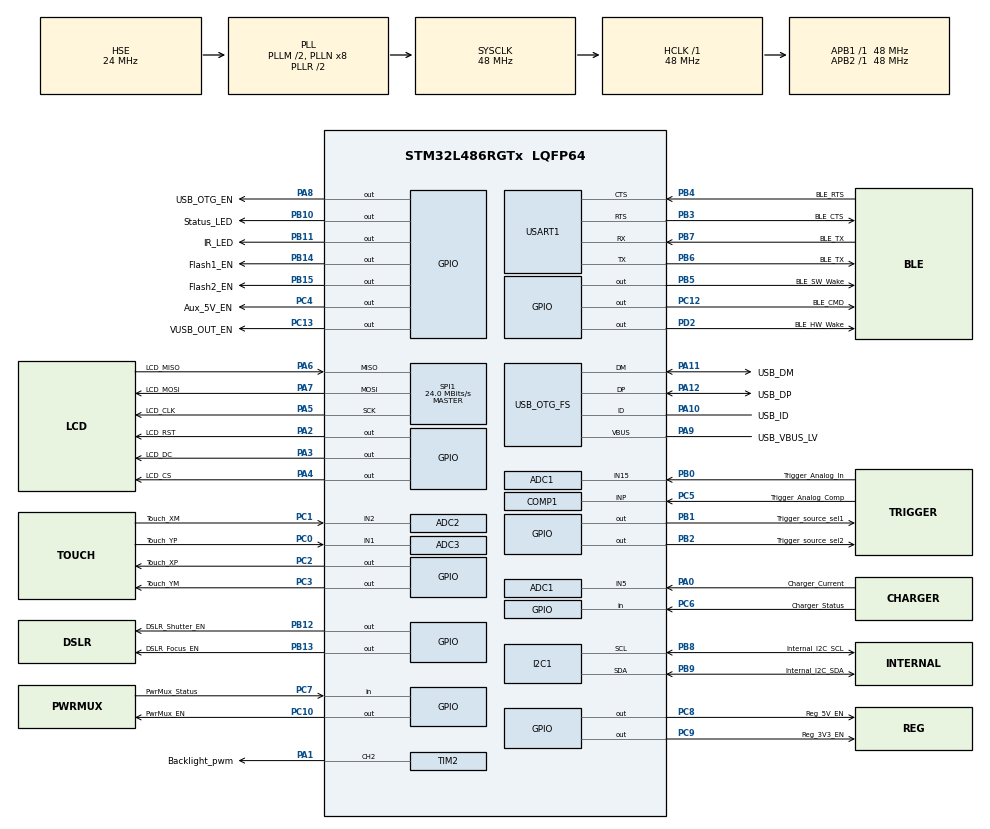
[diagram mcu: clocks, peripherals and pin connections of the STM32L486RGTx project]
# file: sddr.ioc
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ADC1.Channel-202\#ChannelRegularConversion=ADC_CHANNEL_5
ADC1.ClockPrescaler=ADC_CLOCK_ASYNC_DIV4
ADC1.NbrOfConversionFlag=1
ADC1.OffsetNumber-202\#ChannelRegularConversion=ADC_OFFSET_NONE
ADC1.Rank-202\#ChannelRegularConversion=1
ADC1.SamplingTime-202\#ChannelRegularConversion=ADC_SAMPLETIME_2CYCLES_5
ADC1.master=1
ADC2.Channel-0\#ChannelRegularConversion=ADC_CHANNEL_2
ADC2.ClockPrescaler=ADC_CLOCK_ASYNC_DIV4
ADC2.NbrOfConversionFlag=1
ADC2.OffsetNumber-0\#ChannelRegularConversion=ADC_OFFSET_NONE
ADC2.Rank-0\#ChannelRegularConversion=1
ADC2.SamplingTime-0\#ChannelRegularConversion=ADC_SAMPLETIME_2CYCLES_5
ADC3.Channel-0\#ChannelRegularConversion=ADC_CHANNEL_1
ADC3.ClockPrescaler=ADC_CLOCK_ASYNC_DIV4
ADC3.NbrOfConversionFlag=1
ADC3.OffsetNumber-0\#ChannelRegularConversion=ADC_OFFSET_NONE
ADC3.Rank-0\#ChannelRegularConversion=1
ADC3.SamplingTime-0\#ChannelRegularConversion=ADC_SAMPLETIME_2CYCLES_5
COMP1.TriggerMode=COMP_TRIGGERMODE_IT_RISING_FALLING
COMP2.TriggerMode=COMP_TRIGGERMODE_IT_RISING_FALLING
COMP2.WindowMode=COMP_WINDOWMODE_COMP1_INPUT_PLUS_COMMON
DAC1.DAC_Channel-DAC_OUT2_Int=DAC_CHANNEL_2
I2C1.Timing=0x20303E5D
Mcu.Family=STM32L4
Mcu.Name=STM32L486RGTx
Mcu.Package=LQFP64
NVIC.COMP_IRQn=true\:0\:0\:false\:false\:true\:false
NVIC.PriorityGroup=NVIC_PRIORITYGROUP_4
PA0.GPIO_Label=Charger_Current
PA0.Signal=ADCx_IN5
PA1.GPIO_Label=Backlight_pwm
PA1.Signal=S_TIM2_CH2
PA10.GPIO_Label=USB_ID
PA10.Mode=OTG/Dual_Role_Device
PA10.Signal=USB_OTG_FS_ID
PA11.GPIO_Label=USB_DM
PA11.Mode=OTG/Dual_Role_Device
PA11.Signal=USB_OTG_FS_DM
PA12.GPIO_Label=USB_DP
PA12.Mode=OTG/Dual_Role_Device
PA12.Signal=USB_OTG_FS_DP
PA13\ (JTMS-SWDIO).Mode=Serial_Wire
PA13\ (JTMS-SWDIO).Signal=SYS_JTMS-SWDIO
PA14\ (JTCK-SWCLK).Mode=Serial_Wire
PA14\ (JTCK-SWCLK).Signal=SYS_JTCK-SWCLK
PA2.GPIO_Label=LCD_RST
PA2.Signal=GPIO_Output
PA3.GPIO_Label=LCD_DC
PA3.Signal=GPIO_Output
PA4.GPIO_Label=LCD_CS
PA4.Signal=GPIO_Output
PA5.GPIO_Label=LCD_CLK
PA5.Mode=Full_Duplex_Master
PA5.Signal=SPI1_SCK
PA6.GPIO_Label=LCD_MISO
PA6.Mode=Full_Duplex_Master
PA6.Signal=SPI1_MISO
PA7.GPIO_Label=LCD_MOSI
PA7.Mode=Full_Duplex_Master
PA7.Signal=SPI1_MOSI
PA8.GPIO_Label=USB_OTG_EN
PA8.Signal=GPIO_Output
PA9.GPIO_Label=USB_VBUS_LV
PA9.Mode=Activate_VBUS
PA9.Signal=USB_OTG_FS_VBUS
PB0.GPIO_Label=Trigger_Analog_In
PB0.Signal=ADCx_IN15
PB1.GPIO_Label=Trigger_source_sel1
PB1.Signal=GPIO_Output
PB10.GPIO_Label=Status_LED
PB10.Signal=GPIO_Output
PB11.GPIO_Label=IR_LED
PB11.Signal=GPIO_Output
PB12.GPIO_Label=DSLR_Shutter_EN
PB12.Signal=GPIO_Output
PB13.GPIO_Label=DSLR_Focus_EN
PB13.Signal=GPIO_Output
PB14.GPIO_Label=Flash1_EN
PB14.Signal=GPIO_Output
PB15.GPIO_Label=Flash2_EN
PB15.Signal=GPIO_Output
PB2.GPIO_Label=Trigger_source_sel2
PB2.Signal=GPIO_Output
PB3\ (JTDO-TRACESWO).GPIO_Label=BLE_CTS
PB3\ (JTDO-TRACESWO).Mode=CTS_RTS
PB3\ (JTDO-TRACESWO).Signal=USART1_RTS
PB4\ (NJTRST).GPIO_Label=BLE_RTS
PB4\ (NJTRST).Mode=CTS_RTS
PB4\ (NJTRST).Signal=USART1_CTS
PB5.GPIO_Label=BLE_SW_Wake
PB5.Signal=GPIO_Output
PB6.GPIO_Label=BLE_TX
PB6.Mode=Asynchronous
PB6.Signal=USART1_TX
PB7.GPIO_Label=BLE_TX
PB7.Mode=Asynchronous
PB7.Signal=USART1_RX
PB8.GPIO_Label=Internal_I2C_SCL
PB8.Mode=I2C
PB8.Signal=I2C1_SCL
PB9.GPIO_Label=Internal_I2C_SDA
PB9.Mode=I2C
PB9.Signal=I2C1_SDA
PC0.GPIO_Label=Touch_YP
PC0.Signal=ADCx_IN1
PC1.GPIO_Label=Touch_XM
PC1.Signal=ADCx_IN2
PC10.GPIO_Label=PwrMux_EN
PC10.PinState=GPIO_PIN_RESET
PC10.Signal=GPIO_Output
PC12.GPIO_Label=BLE_CMD
PC12.Signal=GPIO_Output
PC13.GPIO_Label=VUSB_OUT_EN
PC13.Signal=GPIO_Output
PC14-OSC32_IN\ (PC14).Mode=LSE-External-Oscillator
PC14-OSC32_IN\ (PC14).Signal=RCC_OSC32_IN
PC15-OSC32_OUT\ (PC15).Mode=LSE-External-Oscillator
PC15-OSC32_OUT\ (PC15).Signal=RCC_OSC32_OUT
PC2.GPIO_Label=Touch_XP
PC2.Signal=GPIO_Output
PC3.GPIO_Label=Touch_YM
PC3.Signal=GPIO_Output
PC4.GPIO_Label=Aux_5V_EN
PC4.Signal=GPIO_Output
PC5.GPIO_Label=Trigger_Analog_Comp
PC5.Signal=SharedAnalog_PC5
PC6.GPIO_Label=Charger_Status
PC6.Signal=GPIO_Input
PC7.GPIO_Label=PwrMux_Status
PC7.Signal=GPIO_Input
PC8.GPIO_Label=Reg_5V_EN
PC8.Signal=GPIO_Output
PC9.GPIO_Label=Reg_3V3_EN
PC9.Signal=GPIO_Output
PD2.GPIO_Label=BLE_HW_Wake
PD2.Signal=GPIO_Output
PH0-OSC_IN\ (PH0).Mode=HSE-External-Clock-Source
PH0-OSC_IN\ (PH0).Signal=RCC_OSC_IN
ProjectManager.HeapSize=0x200
ProjectManager.StackSize=0x400
ProjectManager.TargetToolchain=SW4STM32
RCC.ADCFreq_Value=48000000
RCC.AHBFreq_Value=48000000
RCC.APB1Freq_Value=48000000
RCC.APB1TimFreq_Value=48000000
RCC.APB2Freq_Value=48000000
RCC.APB2TimFreq_Value=48000000
RCC.CortexFreq_Value=48000000
RCC.HCLKFreq_Value=48000000
RCC.HSE_VALUE=24000000
RCC.HSI_VALUE=16000000
RCC.MSI_VALUE=4000000
RCC.PLLM=2
RCC.PLLSourceVirtual=RCC_PLLSOURCE_HSE
RCC.RTCClockSelection=RCC_RTCCLKSOURCE_LSE
RCC.SYSCLKFreq_VALUE=48000000
RCC.SYSCLKSource=RCC_SYSCLKSOURCE_PLLCLK
RCC.USBFreq_Value=48000000
RCC.VCOOutputFreq_Value=96000000
SH.ADCx_IN1.0=ADC3_IN1,IN1-Single-Ended
SH.ADCx_IN15.0=ADC1_IN15,IN15-Single-Ended
SH.ADCx_IN2.0=ADC1_IN2
SH.ADCx_IN2.1=ADC2_IN2,IN2-Single-Ended
SH.ADCx_IN5.0=ADC1_IN5,IN5-Single-Ended
SH.S_TIM2_CH2.0=TIM2_CH2,PWM Generation2 CH2
SH.SharedAnalog_PC5.0=ADC1_IN14
SH.SharedAnalog_PC5.1=COMP1_INP,INP
SPI1.BaudRatePrescaler=SPI_BAUDRATEPRESCALER_2
SPI1.CalculateBaudRate=24.0 MBits/s
SPI1.DataSize=SPI_DATASIZE_8BIT
SPI1.Direction=SPI_DIRECTION_2LINES
SPI1.Mode=SPI_MODE_MASTER
SPI1.VirtualType=VM_MASTER
TIM2.Channel-PWM\ Generation2\ CH2=TIM_CHANNEL_2
TIM2.ClockDivision=TIM_CLOCKDIVISION_DIV4
TIM2.Period=1000
TIM2.Prescaler=64
TIM2.Pulse-PWM\ Generation2\ CH2=500
USART1.VirtualMode-Asynchronous=VM_ASYNC
VP_ADC3_TempSens_Input.Mode=IN-TempSens
VP_COMP1_VS_DACOUT1.Mode=INM_DACOUT1
VP_COMP2_VS_DACOUT2.Mode=INM_DACOUT2
VP_COMP2_VS_WindowMode.Mode=WindowMode
VP_DAC1_VS_DACI1.Mode=DAC_OUT1_Int
VP_DAC1_VS_DACI2.Mode=DAC_OUT2_Int
VP_TIM2_VS_ClockSourceINT.Mode=Internal
board=custom

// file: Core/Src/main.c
/* USER CODE BEGIN Header */
/**
  ******************************************************************************
  * @file           : main.c
  * @brief          : Main program body
  ******************************************************************************
  ** This notice applies to any and all portions of this file
  * that are not between comment pairs USER CODE BEGIN and
  * USER CODE END. Other portions of this file, whether
  * inserted by the user or by software development tools
  * are owned by their respective copyright owners.
  *
  * COPYRIGHT(c) 2018 STMicroelectronics
  *
  * Redistribution and use in source and binary forms, with or without modification,
  * are permitted provided that the following conditions are met:
  *   1. Redistributions of source code must retain the above copyright notice,
  *      this list of conditions and the following disclaimer.
  *   2. Redistributions in binary form must reproduce the above copyright notice,
  *      this list of conditions and the following disclaimer in the documentation
  *      and/or other materials provided with the distribution.
  *   3. Neither the name of STMicroelectronics nor the names of its contributors
  *      may be used to endorse or promote products derived from this software
  *      without specific prior written permission.
  *
  * THIS SOFTWARE IS PROVIDED BY THE COPYRIGHT HOLDERS AND CONTRIBUTORS "AS IS"
  * AND ANY EXPRESS OR IMPLIED WARRANTIES, INCLUDING, BUT NOT LIMITED TO, THE
  * IMPLIED WARRANTIES OF MERCHANTABILITY AND FITNESS FOR A PARTICULAR PURPOSE ARE
  * DISCLAIMED. IN NO EVENT SHALL THE COPYRIGHT HOLDER OR CONTRIBUTORS BE LIABLE
  * FOR ANY DIRECT, INDIRECT, INCIDENTAL, SPECIAL, EXEMPLARY, OR CONSEQUENTIAL
  * DAMAGES (INCLUDING, BUT NOT LIMITED TO, PROCUREMENT OF SUBSTITUTE GOODS OR
  * SERVICES; LOSS OF USE, DATA, OR PROFITS; OR BUSINESS INTERRUPTION) HOWEVER
  * CAUSED AND ON ANY THEORY OF LIABILITY, WHETHER IN CONTRACT, STRICT LIABILITY,
  * OR TORT (INCLUDING NEGLIGENCE OR OTHERWISE) ARISING IN ANY WAY OUT OF THE USE
  * OF THIS SOFTWARE, EVEN IF ADVISED OF THE POSSIBILITY OF SUCH DAMAGE.
  *
  ******************************************************************************
  */
/* USER CODE END Header */

#include "main.h"

ADC_HandleTypeDef hadc1;
ADC_HandleTypeDef hadc2;
ADC_HandleTypeDef hadc3;

COMP_HandleTypeDef hcomp1;
COMP_HandleTypeDef hcomp2;

DAC_HandleTypeDef hdac1;

I2C_HandleTypeDef hi2c1;

SPI_HandleTypeDef hspi1;

TIM_HandleTypeDef htim2;

UART_HandleTypeDef huart1;

void SystemClock_Config(void);
static void MX_GPIO_Init(void);
static void MX_SPI1_Init(void);
static void MX_USB_OTG_FS_USB_Init(void);
static void MX_COMP1_Init(void);
static void MX_USART1_UART_Init(void);
static void MX_I2C1_Init(void);
static void MX_ADC1_Init(void);
static void MX_ADC2_Init(void);
static void MX_ADC3_Init(void);
static void MX_TIM2_Init(void);
static void MX_COMP2_Init(void);
static void MX_DAC1_Init(void);

uint8_t DetectFlag = 0;

int main(void)
{

  /* MCU Configuration--------------------------------------------------------*/

  /* Reset of all peripherals, Initializes the Flash interface and the Systick. */
  HAL_Init();

  /* Configure the system clock */
  SystemClock_Config();

  /* Initialize all configured peripherals */
  MX_GPIO_Init();
  MX_SPI1_Init();
  MX_USB_OTG_FS_USB_Init();
  MX_COMP1_Init();
  MX_USART1_UART_Init();
  MX_I2C1_Init();
  MX_ADC1_Init();
  MX_ADC2_Init();
  MX_ADC3_Init();
  MX_TIM2_Init();
  MX_COMP2_Init();
  MX_DAC1_Init();
  /* USER CODE BEGIN 2 */

  HAL_GPIO_WritePin(PwrMux_EN_GPIO_Port, PwrMux_EN_Pin, GPIO_PIN_RESET);
  HAL_Delay(500);
  HAL_GPIO_WritePin(Reg_5V_EN_GPIO_Port, Reg_5V_EN_Pin, GPIO_PIN_SET);
  HAL_Delay(500);
  HAL_GPIO_WritePin(Reg_3V3_EN_GPIO_Port, Reg_3V3_EN_Pin, GPIO_PIN_SET);
  HAL_GPIO_WritePin(Status_LED_GPIO_Port, Status_LED_Pin, GPIO_PIN_RESET);
  HAL_GPIO_WritePin(IR_LED_GPIO_Port, IR_LED_Pin, GPIO_PIN_RESET);
  UpdateLCDBrightness(0);

  HAL_GPIO_WritePin(Trigger_source_sel1_GPIO_Port, Trigger_source_sel1_Pin, GPIO_PIN_SET);	//SET : Mic in RESET : Light in
  HAL_GPIO_WritePin(Trigger_source_sel2_GPIO_Port, Trigger_source_sel2_Pin, GPIO_PIN_SET);		//SET: Internal RESET : External

  HAL_DAC_SetValue(&hdac1, DAC1_CHANNEL_1, DAC_ALIGN_12B_L, 2000);
  HAL_DAC_SetValue(&hdac1, DAC1_CHANNEL_2, DAC_ALIGN_12B_L, 2100);
  HAL_COMP_Start_IT(&hcomp1);
  //HAL_GPIO_WritePin(Backlight_pwm_GPIO_Port,Backlight_pwm_Pin,GPIO_PIN_SET);
  /* USER CODE END 2 */

  /* Infinite loop */
  /* USER CODE BEGIN WHILE */
  while (1)
  {
	  HAL_Delay(1000);
	  HAL_COMP_Start_IT(&hcomp1);

    /* USER CODE END WHILE */

  }
}

void SystemClock_Config(void)
{
  RCC_OscInitTypeDef RCC_OscInitStruct = {0};
  RCC_ClkInitTypeDef RCC_ClkInitStruct = {0};
  RCC_PeriphCLKInitTypeDef PeriphClkInit = {0};

  /**Initializes the CPU, AHB and APB busses clocks
  */
  RCC_OscInitStruct.OscillatorType = RCC_OSCILLATORTYPE_HSE;
  RCC_OscInitStruct.HSEState = RCC_HSE_BYPASS;
  RCC_OscInitStruct.PLL.PLLState = RCC_PLL_ON;
  RCC_OscInitStruct.PLL.PLLSource = RCC_PLLSOURCE_HSE;
  RCC_OscInitStruct.PLL.PLLM = 2;
  RCC_OscInitStruct.PLL.PLLN = 8;
  RCC_OscInitStruct.PLL.PLLP = RCC_PLLP_DIV7;
  RCC_OscInitStruct.PLL.PLLQ = RCC_PLLQ_DIV2;
  RCC_OscInitStruct.PLL.PLLR = RCC_PLLR_DIV2;
  if (HAL_RCC_OscConfig(&RCC_OscInitStruct) != HAL_OK)
  {
    Error_Handler();
  }
  /**Initializes the CPU, AHB and APB busses clocks
  */
  RCC_ClkInitStruct.ClockType = RCC_CLOCKTYPE_HCLK|RCC_CLOCKTYPE_SYSCLK
                              |RCC_CLOCKTYPE_PCLK1|RCC_CLOCKTYPE_PCLK2;
  RCC_ClkInitStruct.SYSCLKSource = RCC_SYSCLKSOURCE_PLLCLK;
  RCC_ClkInitStruct.AHBCLKDivider = RCC_SYSCLK_DIV1;
  RCC_ClkInitStruct.APB1CLKDivider = RCC_HCLK_DIV1;
  RCC_ClkInitStruct.APB2CLKDivider = RCC_HCLK_DIV1;

  if (HAL_RCC_ClockConfig(&RCC_ClkInitStruct, FLASH_LATENCY_2) != HAL_OK)
  {
    Error_Handler();
  }
  PeriphClkInit.PeriphClockSelection = RCC_PERIPHCLK_USART1|RCC_PERIPHCLK_I2C1
                              |RCC_PERIPHCLK_USB|RCC_PERIPHCLK_ADC;
  PeriphClkInit.Usart1ClockSelection = RCC_USART1CLKSOURCE_PCLK2;
  PeriphClkInit.I2c1ClockSelection = RCC_I2C1CLKSOURCE_PCLK1;
  PeriphClkInit.AdcClockSelection = RCC_ADCCLKSOURCE_PLLSAI1;
  PeriphClkInit.UsbClockSelection = RCC_USBCLKSOURCE_PLLSAI1;
  PeriphClkInit.PLLSAI1.PLLSAI1Source = RCC_PLLSOURCE_HSE;
  PeriphClkInit.PLLSAI1.PLLSAI1M = 2;
  PeriphClkInit.PLLSAI1.PLLSAI1N = 8;
  PeriphClkInit.PLLSAI1.PLLSAI1P = RCC_PLLP_DIV7;
  PeriphClkInit.PLLSAI1.PLLSAI1Q = RCC_PLLQ_DIV2;
  PeriphClkInit.PLLSAI1.PLLSAI1R = RCC_PLLR_DIV2;
  PeriphClkInit.PLLSAI1.PLLSAI1ClockOut = RCC_PLLSAI1_48M2CLK|RCC_PLLSAI1_ADC1CLK;
  if (HAL_RCCEx_PeriphCLKConfig(&PeriphClkInit) != HAL_OK)
  {
    Error_Handler();
  }
  /**Configure the main internal regulator output voltage
  */
  if (HAL_PWREx_ControlVoltageScaling(PWR_REGULATOR_VOLTAGE_SCALE1) != HAL_OK)
  {
    Error_Handler();
  }
}

static void MX_ADC1_Init(void)
{

  ADC_MultiModeTypeDef multimode = {0};
  ADC_ChannelConfTypeDef sConfig = {0};

  /**Common config
  */
  hadc1.Instance = ADC1;
  hadc1.Init.ClockPrescaler = ADC_CLOCK_ASYNC_DIV4;
  hadc1.Init.Resolution = ADC_RESOLUTION_12B;
  hadc1.Init.DataAlign = ADC_DATAALIGN_RIGHT;
  hadc1.Init.ScanConvMode = ADC_SCAN_DISABLE;
  hadc1.Init.EOCSelection = ADC_EOC_SINGLE_CONV;
  hadc1.Init.LowPowerAutoWait = DISABLE;
  hadc1.Init.ContinuousConvMode = DISABLE;
  hadc1.Init.NbrOfConversion = 1;
  hadc1.Init.DiscontinuousConvMode = DISABLE;
  hadc1.Init.ExternalTrigConv = ADC_SOFTWARE_START;
  hadc1.Init.ExternalTrigConvEdge = ADC_EXTERNALTRIGCONVEDGE_NONE;
  hadc1.Init.DMAContinuousRequests = DISABLE;
  hadc1.Init.Overrun = ADC_OVR_DATA_PRESERVED;
  hadc1.Init.OversamplingMode = DISABLE;
  if (HAL_ADC_Init(&hadc1) != HAL_OK)
  {
    Error_Handler();
  }
  /**Configure the ADC multi-mode
  */
  multimode.Mode = ADC_MODE_INDEPENDENT;
  if (HAL_ADCEx_MultiModeConfigChannel(&hadc1, &multimode) != HAL_OK)
  {
    Error_Handler();
  }
  /**Configure Regular Channel
  */
  sConfig.Channel = ADC_CHANNEL_5;
  sConfig.Rank = ADC_REGULAR_RANK_1;
  sConfig.SamplingTime = ADC_SAMPLETIME_2CYCLES_5;
  sConfig.SingleDiff = ADC_SINGLE_ENDED;
  sConfig.OffsetNumber = ADC_OFFSET_NONE;
  sConfig.Offset = 0;
  if (HAL_ADC_ConfigChannel(&hadc1, &sConfig) != HAL_OK)
  {
    Error_Handler();
  }

}

static void MX_ADC2_Init(void)
{

  ADC_ChannelConfTypeDef sConfig = {0};

  /**Common config
  */
  hadc2.Instance = ADC2;
  hadc2.Init.ClockPrescaler = ADC_CLOCK_ASYNC_DIV4;
  hadc2.Init.Resolution = ADC_RESOLUTION_12B;
  hadc2.Init.DataAlign = ADC_DATAALIGN_RIGHT;
  hadc2.Init.ScanConvMode = ADC_SCAN_DISABLE;
  hadc2.Init.EOCSelection = ADC_EOC_SINGLE_CONV;
  hadc2.Init.LowPowerAutoWait = DISABLE;
  hadc2.Init.ContinuousConvMode = DISABLE;
  hadc2.Init.NbrOfConversion = 1;
  hadc2.Init.DiscontinuousConvMode = DISABLE;
  hadc2.Init.ExternalTrigConv = ADC_SOFTWARE_START;
  hadc2.Init.ExternalTrigConvEdge = ADC_EXTERNALTRIGCONVEDGE_NONE;
  hadc2.Init.DMAContinuousRequests = DISABLE;
  hadc2.Init.Overrun = ADC_OVR_DATA_PRESERVED;
  hadc2.Init.OversamplingMode = DISABLE;
  if (HAL_ADC_Init(&hadc2) != HAL_OK)
  {
    Error_Handler();
  }
  /**Configure Regular Channel
  */
  sConfig.Channel = ADC_CHANNEL_2;
  sConfig.Rank = ADC_REGULAR_RANK_1;
  sConfig.SamplingTime = ADC_SAMPLETIME_2CYCLES_5;
  sConfig.SingleDiff = ADC_SINGLE_ENDED;
  sConfig.OffsetNumber = ADC_OFFSET_NONE;
  sConfig.Offset = 0;
  if (HAL_ADC_ConfigChannel(&hadc2, &sConfig) != HAL_OK)
  {
    Error_Handler();
  }

}

static void MX_ADC3_Init(void)
{

  ADC_ChannelConfTypeDef sConfig = {0};

  /**Common config
  */
  hadc3.Instance = ADC3;
  hadc3.Init.ClockPrescaler = ADC_CLOCK_ASYNC_DIV4;
  hadc3.Init.Resolution = ADC_RESOLUTION_12B;
  hadc3.Init.DataAlign = ADC_DATAALIGN_RIGHT;
  hadc3.Init.ScanConvMode = ADC_SCAN_DISABLE;
  hadc3.Init.EOCSelection = ADC_EOC_SINGLE_CONV;
  hadc3.Init.LowPowerAutoWait = DISABLE;
  hadc3.Init.ContinuousConvMode = DISABLE;
  hadc3.Init.NbrOfConversion = 1;
  hadc3.Init.DiscontinuousConvMode = DISABLE;
  hadc3.Init.ExternalTrigConv = ADC_SOFTWARE_START;
  hadc3.Init.ExternalTrigConvEdge = ADC_EXTERNALTRIGCONVEDGE_NONE;
  hadc3.Init.DMAContinuousRequests = DISABLE;
  hadc3.Init.Overrun = ADC_OVR_DATA_PRESERVED;
  hadc3.Init.OversamplingMode = DISABLE;
  if (HAL_ADC_Init(&hadc3) != HAL_OK)
  {
    Error_Handler();
  }
  /**Configure Regular Channel
  */
  sConfig.Channel = ADC_CHANNEL_1;
  sConfig.Rank = ADC_REGULAR_RANK_1;
  sConfig.SamplingTime = ADC_SAMPLETIME_2CYCLES_5;
  sConfig.SingleDiff = ADC_SINGLE_ENDED;
  sConfig.OffsetNumber = ADC_OFFSET_NONE;
  sConfig.Offset = 0;
  if (HAL_ADC_ConfigChannel(&hadc3, &sConfig) != HAL_OK)
  {
    Error_Handler();
  }

}

static void MX_COMP1_Init(void)
{

  hcomp1.Instance = COMP1;
  hcomp1.Init.InvertingInput = COMP_INPUT_MINUS_DAC1_CH1;
  hcomp1.Init.NonInvertingInput = COMP_INPUT_PLUS_IO1;
  hcomp1.Init.OutputPol = COMP_OUTPUTPOL_NONINVERTED;
  hcomp1.Init.Hysteresis = COMP_HYSTERESIS_NONE;
  hcomp1.Init.BlankingSrce = COMP_BLANKINGSRC_NONE;
  hcomp1.Init.Mode = COMP_POWERMODE_HIGHSPEED;
  hcomp1.Init.WindowMode = COMP_WINDOWMODE_DISABLE;
  hcomp1.Init.TriggerMode = COMP_TRIGGERMODE_IT_RISING_FALLING;
  if (HAL_COMP_Init(&hcomp1) != HAL_OK)
  {
    Error_Handler();
  }

}

static void MX_COMP2_Init(void)
{

  hcomp2.Instance = COMP2;
  hcomp2.Init.InvertingInput = COMP_INPUT_MINUS_DAC1_CH2;
  hcomp2.Init.NonInvertingInput = COMP_INPUT_PLUS_IO1;
  hcomp2.Init.OutputPol = COMP_OUTPUTPOL_NONINVERTED;
  hcomp2.Init.Hysteresis = COMP_HYSTERESIS_NONE;
  hcomp2.Init.BlankingSrce = COMP_BLANKINGSRC_NONE;
  hcomp2.Init.Mode = COMP_POWERMODE_HIGHSPEED;
  hcomp2.Init.WindowMode = COMP_WINDOWMODE_COMP1_INPUT_PLUS_COMMON;
  hcomp2.Init.TriggerMode = COMP_TRIGGERMODE_IT_RISING_FALLING;
  if (HAL_COMP_Init(&hcomp2) != HAL_OK)
  {
    Error_Handler();
  }

}

static void MX_DAC1_Init(void)
{

  DAC_ChannelConfTypeDef sConfig = {0};

  /**DAC Initialization
  */
  hdac1.Instance = DAC1;
  if (HAL_DAC_Init(&hdac1) != HAL_OK)
  {
    Error_Handler();
  }
  /**DAC channel OUT1 config
  */
  sConfig.DAC_SampleAndHold = DAC_SAMPLEANDHOLD_DISABLE;
  sConfig.DAC_Trigger = DAC_TRIGGER_NONE;
  sConfig.DAC_OutputBuffer = DAC_OUTPUTBUFFER_DISABLE;
  sConfig.DAC_ConnectOnChipPeripheral = DAC_CHIPCONNECT_ENABLE;
  sConfig.DAC_UserTrimming = DAC_TRIMMING_FACTORY;
  if (HAL_DAC_ConfigChannel(&hdac1, &sConfig, DAC_CHANNEL_1) != HAL_OK)
  {
    Error_Handler();
  }
  /**DAC channel OUT2 config
  */
  sConfig.DAC_ConnectOnChipPeripheral = DAC_CHIPCONNECT_ENABLE;
  if (HAL_DAC_ConfigChannel(&hdac1, &sConfig, DAC_CHANNEL_2) != HAL_OK)
  {
    Error_Handler();
  }

}

static void MX_I2C1_Init(void)
{

  hi2c1.Instance = I2C1;
  hi2c1.Init.Timing = 0x20303E5D;
  hi2c1.Init.OwnAddress1 = 0;
  hi2c1.Init.AddressingMode = I2C_ADDRESSINGMODE_7BIT;
  hi2c1.Init.DualAddressMode = I2C_DUALADDRESS_DISABLE;
  hi2c1.Init.OwnAddress2 = 0;
  hi2c1.Init.OwnAddress2Masks = I2C_OA2_NOMASK;
  hi2c1.Init.GeneralCallMode = I2C_GENERALCALL_DISABLE;
  hi2c1.Init.NoStretchMode = I2C_NOSTRETCH_DISABLE;
  if (HAL_I2C_Init(&hi2c1) != HAL_OK)
  {
    Error_Handler();
  }
  /**Configure Analogue filter
  */
  if (HAL_I2CEx_ConfigAnalogFilter(&hi2c1, I2C_ANALOGFILTER_ENABLE) != HAL_OK)
  {
    Error_Handler();
  }
  /**Configure Digital filter
  */
  if (HAL_I2CEx_ConfigDigitalFilter(&hi2c1, 0) != HAL_OK)
  {
    Error_Handler();
  }

}

static void MX_SPI1_Init(void)
{

  /* SPI1 parameter configuration*/
  hspi1.Instance = SPI1;
  hspi1.Init.Mode = SPI_MODE_MASTER;
  hspi1.Init.Direction = SPI_DIRECTION_2LINES;
  hspi1.Init.DataSize = SPI_DATASIZE_8BIT;
  hspi1.Init.CLKPolarity = SPI_POLARITY_LOW;
  hspi1.Init.CLKPhase = SPI_PHASE_1EDGE;
  hspi1.Init.NSS = SPI_NSS_SOFT;
  hspi1.Init.BaudRatePrescaler = SPI_BAUDRATEPRESCALER_2;
  hspi1.Init.FirstBit = SPI_FIRSTBIT_MSB;
  hspi1.Init.TIMode = SPI_TIMODE_DISABLE;
  hspi1.Init.CRCCalculation = SPI_CRCCALCULATION_DISABLE;
  hspi1.Init.CRCPolynomial = 7;
  hspi1.Init.CRCLength = SPI_CRC_LENGTH_DATASIZE;
  hspi1.Init.NSSPMode = SPI_NSS_PULSE_ENABLE;
  if (HAL_SPI_Init(&hspi1) != HAL_OK)
  {
    Error_Handler();
  }

}

static void MX_TIM2_Init(void)
{

  TIM_ClockConfigTypeDef sClockSourceConfig = {0};
  TIM_MasterConfigTypeDef sMasterConfig = {0};
  TIM_OC_InitTypeDef sConfigOC = {0};

  htim2.Instance = TIM2;
  htim2.Init.Prescaler = 64;
  htim2.Init.CounterMode = TIM_COUNTERMODE_UP;
  htim2.Init.Period = 1000;
  htim2.Init.ClockDivision = TIM_CLOCKDIVISION_DIV4;
  htim2.Init.AutoReloadPreload = TIM_AUTORELOAD_PRELOAD_DISABLE;
  if (HAL_TIM_Base_Init(&htim2) != HAL_OK)
  {
    Error_Handler();
  }
  sClockSourceConfig.ClockSource = TIM_CLOCKSOURCE_INTERNAL;
  if (HAL_TIM_ConfigClockSource(&htim2, &sClockSourceConfig) != HAL_OK)
  {
    Error_Handler();
  }
  if (HAL_TIM_PWM_Init(&htim2) != HAL_OK)
  {
    Error_Handler();
  }
  sMasterConfig.MasterOutputTrigger = TIM_TRGO_RESET;
  sMasterConfig.MasterSlaveMode = TIM_MASTERSLAVEMODE_DISABLE;
  if (HAL_TIMEx_MasterConfigSynchronization(&htim2, &sMasterConfig) != HAL_OK)
  {
    Error_Handler();
  }
  sConfigOC.OCMode = TIM_OCMODE_PWM1;
  sConfigOC.Pulse = 500;
  sConfigOC.OCPolarity = TIM_OCPOLARITY_HIGH;
  sConfigOC.OCFastMode = TIM_OCFAST_DISABLE;
  if (HAL_TIM_PWM_ConfigChannel(&htim2, &sConfigOC, TIM_CHANNEL_2) != HAL_OK)
  {
    Error_Handler();
  }
  /* USER CODE BEGIN TIM2_Init 2 */

  HAL_TIM_Base_Start(&htim2);
  HAL_TIM_PWM_Start(&htim2, TIM_CHANNEL_2);
  /* USER CODE END TIM2_Init 2 */
  HAL_TIM_MspPostInit(&htim2);

}

static void MX_USART1_UART_Init(void)
{

  huart1.Instance = USART1;
  huart1.Init.BaudRate = 115200;
  huart1.Init.WordLength = UART_WORDLENGTH_8B;
  huart1.Init.StopBits = UART_STOPBITS_1;
  huart1.Init.Parity = UART_PARITY_NONE;
  huart1.Init.Mode = UART_MODE_TX_RX;
  huart1.Init.HwFlowCtl = UART_HWCONTROL_RTS_CTS;
  huart1.Init.OverSampling = UART_OVERSAMPLING_16;
  huart1.Init.OneBitSampling = UART_ONE_BIT_SAMPLE_DISABLE;
  huart1.AdvancedInit.AdvFeatureInit = UART_ADVFEATURE_NO_INIT;
  if (HAL_UART_Init(&huart1) != HAL_OK)
  {
    Error_Handler();
  }

}

static void MX_USB_OTG_FS_USB_Init(void)
{

}

static void MX_GPIO_Init(void)
{
  GPIO_InitTypeDef GPIO_InitStruct = {0};

  /* GPIO Ports Clock Enable */
  __HAL_RCC_GPIOC_CLK_ENABLE();
  __HAL_RCC_GPIOH_CLK_ENABLE();
  __HAL_RCC_GPIOA_CLK_ENABLE();
  __HAL_RCC_GPIOB_CLK_ENABLE();
  __HAL_RCC_GPIOD_CLK_ENABLE();

  /*Configure GPIO pin Output Level */
  HAL_GPIO_WritePin(GPIOC, VUSB_OUT_EN_Pin|Touch_XP_Pin|Touch_YM_Pin|Aux_5V_EN_Pin
                          |Reg_5V_EN_Pin|Reg_3V3_EN_Pin|PwrMux_EN_Pin|BLE_CMD_Pin, GPIO_PIN_RESET);

  /*Configure GPIO pin Output Level */
  HAL_GPIO_WritePin(GPIOA, LCD_RST_Pin|LCD_DC_Pin|LCD_CS_Pin|USB_OTG_EN_Pin, GPIO_PIN_RESET);

  /*Configure GPIO pin Output Level */
  HAL_GPIO_WritePin(GPIOB, Trigger_source_sel1_Pin|Trigger_source_sel2_Pin|Status_LED_Pin|IR_LED_Pin
                          |DSLR_Shutter_EN_Pin|DSLR_Focus_EN_Pin|Flash1_EN_Pin|Flash2_EN_Pin
                          |BLE_SW_Wake_Pin, GPIO_PIN_RESET);

  /*Configure GPIO pin Output Level */
  HAL_GPIO_WritePin(BLE_HW_Wake_GPIO_Port, BLE_HW_Wake_Pin, GPIO_PIN_RESET);

  /*Configure GPIO pins : VUSB_OUT_EN_Pin Touch_XP_Pin Touch_YM_Pin Aux_5V_EN_Pin
                           Reg_5V_EN_Pin Reg_3V3_EN_Pin PwrMux_EN_Pin BLE_CMD_Pin */
  GPIO_InitStruct.Pin = VUSB_OUT_EN_Pin|Touch_XP_Pin|Touch_YM_Pin|Aux_5V_EN_Pin
                          |Reg_5V_EN_Pin|Reg_3V3_EN_Pin|PwrMux_EN_Pin|BLE_CMD_Pin;
  GPIO_InitStruct.Mode = GPIO_MODE_OUTPUT_PP;
  GPIO_InitStruct.Pull = GPIO_NOPULL;
  GPIO_InitStruct.Speed = GPIO_SPEED_FREQ_LOW;
  HAL_GPIO_Init(GPIOC, &GPIO_InitStruct);

  /*Configure GPIO pin : PH1 */
  GPIO_InitStruct.Pin = GPIO_PIN_1;
  GPIO_InitStruct.Mode = GPIO_MODE_ANALOG;
  GPIO_InitStruct.Pull = GPIO_NOPULL;
  HAL_GPIO_Init(GPIOH, &GPIO_InitStruct);

  /*Configure GPIO pins : LCD_RST_Pin LCD_DC_Pin LCD_CS_Pin USB_OTG_EN_Pin */
  GPIO_InitStruct.Pin = LCD_RST_Pin|LCD_DC_Pin|LCD_CS_Pin|USB_OTG_EN_Pin;
  GPIO_InitStruct.Mode = GPIO_MODE_OUTPUT_PP;
  GPIO_InitStruct.Pull = GPIO_NOPULL;
  GPIO_InitStruct.Speed = GPIO_SPEED_FREQ_LOW;
  HAL_GPIO_Init(GPIOA, &GPIO_InitStruct);

  /*Configure GPIO pins : Trigger_source_sel1_Pin Trigger_source_sel2_Pin Status_LED_Pin IR_LED_Pin
                           DSLR_Shutter_EN_Pin DSLR_Focus_EN_Pin Flash1_EN_Pin Flash2_EN_Pin
                           BLE_SW_Wake_Pin */
  GPIO_InitStruct.Pin = Trigger_source_sel1_Pin|Trigger_source_sel2_Pin|Status_LED_Pin|IR_LED_Pin
                          |DSLR_Shutter_EN_Pin|DSLR_Focus_EN_Pin|Flash1_EN_Pin|Flash2_EN_Pin
                          |BLE_SW_Wake_Pin;
  GPIO_InitStruct.Mode = GPIO_MODE_OUTPUT_PP;
  GPIO_InitStruct.Pull = GPIO_NOPULL;
  GPIO_InitStruct.Speed = GPIO_SPEED_FREQ_LOW;
  HAL_GPIO_Init(GPIOB, &GPIO_InitStruct);

  /*Configure GPIO pins : Charger_Status_Pin PwrMux_Status_Pin */
  GPIO_InitStruct.Pin = Charger_Status_Pin|PwrMux_Status_Pin;
  GPIO_InitStruct.Mode = GPIO_MODE_INPUT;
  GPIO_InitStruct.Pull = GPIO_NOPULL;
  HAL_GPIO_Init(GPIOC, &GPIO_InitStruct);

  /*Configure GPIO pin : USB_VBUS_LV_Pin */
  GPIO_InitStruct.Pin = USB_VBUS_LV_Pin;
  GPIO_InitStruct.Mode = GPIO_MODE_INPUT;
  GPIO_InitStruct.Pull = GPIO_NOPULL;
  HAL_GPIO_Init(USB_VBUS_LV_GPIO_Port, &GPIO_InitStruct);

  /*Configure GPIO pins : USB_ID_Pin USB_DM_Pin USB_DP_Pin */
  GPIO_InitStruct.Pin = USB_ID_Pin|USB_DM_Pin|USB_DP_Pin;
  GPIO_InitStruct.Mode = GPIO_MODE_AF_PP;
  GPIO_InitStruct.Pull = GPIO_NOPULL;
  GPIO_InitStruct.Speed = GPIO_SPEED_FREQ_VERY_HIGH;
  GPIO_InitStruct.Alternate = GPIO_AF10_OTG_FS;
  HAL_GPIO_Init(GPIOA, &GPIO_InitStruct);

  /*Configure GPIO pin : PA15 */
  GPIO_InitStruct.Pin = GPIO_PIN_15;
  GPIO_InitStruct.Mode = GPIO_MODE_ANALOG;
  GPIO_InitStruct.Pull = GPIO_NOPULL;
  HAL_GPIO_Init(GPIOA, &GPIO_InitStruct);

  /*Configure GPIO pin : PC11 */
  GPIO_InitStruct.Pin = GPIO_PIN_11;
  GPIO_InitStruct.Mode = GPIO_MODE_ANALOG;
  GPIO_InitStruct.Pull = GPIO_NOPULL;
  HAL_GPIO_Init(GPIOC, &GPIO_InitStruct);

  /*Configure GPIO pin : BLE_HW_Wake_Pin */
  GPIO_InitStruct.Pin = BLE_HW_Wake_Pin;
  GPIO_InitStruct.Mode = GPIO_MODE_OUTPUT_PP;
  GPIO_InitStruct.Pull = GPIO_NOPULL;
  GPIO_InitStruct.Speed = GPIO_SPEED_FREQ_LOW;
  HAL_GPIO_Init(BLE_HW_Wake_GPIO_Port, &GPIO_InitStruct);

}

/* USER CODE BEGIN 4 */
/**
 * @brief  Comparator interrupt callback.
 * @param  hcomp: COMP handle
 * @retval None
 */

void HAL_COMP_TriggerCallback(COMP_HandleTypeDef *hcomp)
{
	  HAL_GPIO_TogglePin(Status_LED_GPIO_Port, Status_LED_Pin);
	  HAL_COMP_Stop_IT(&hcomp1);
}

/**
  * @brief LCD Update routine, update current brightness, in perthousand
  * @retval None
  */
void UpdateLCDBrightness(uint32_t brightness)
{
	  __HAL_TIM_SET_COMPARE(&htim2, TIM_CHANNEL_2, brightness);
}

/* USER CODE END 4 */

void Error_Handler(void)
{
}

/************************ (C) COPYRIGHT STMicroelectronics *****END OF FILE****/
